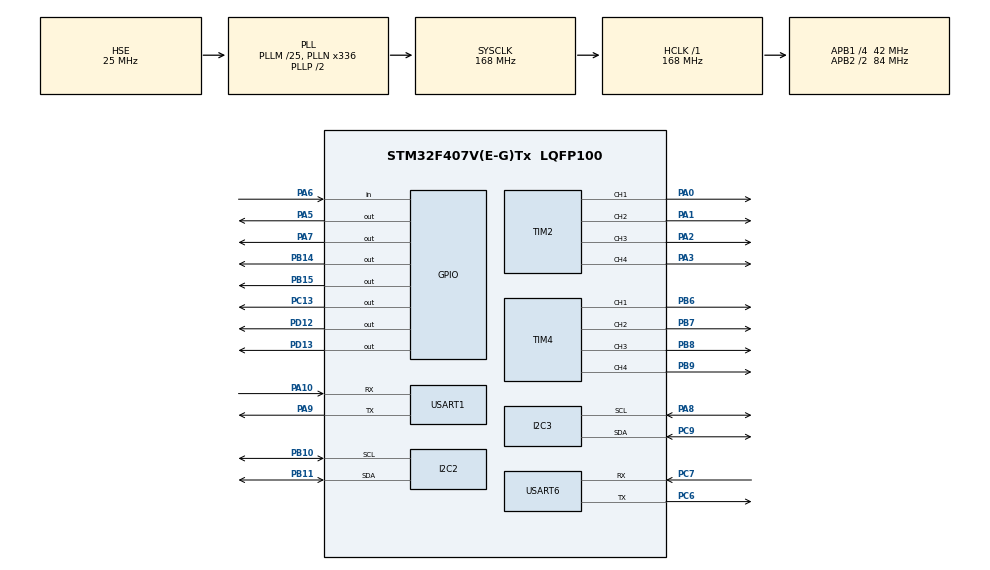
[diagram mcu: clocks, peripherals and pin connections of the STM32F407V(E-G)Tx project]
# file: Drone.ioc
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Mcu.Family=STM32F4
Mcu.Name=STM32F407V(E-G)Tx
Mcu.Package=LQFP100
NVIC.PriorityGroup=NVIC_PRIORITYGROUP_4
NVIC.TIM3_IRQn=true\:0\:0\:false\:false\:true\:true\:true\:true
PA0-WKUP.Signal=S_TIM2_CH1_ETR
PA1.Signal=S_TIM2_CH2
PA10.Mode=Asynchronous
PA10.Signal=USART1_RX
PA13.Mode=Serial_Wire
PA13.Signal=SYS_JTMS-SWDIO
PA14.Mode=Serial_Wire
PA14.Signal=SYS_JTCK-SWCLK
PA2.Signal=S_TIM2_CH3
PA3.Signal=S_TIM2_CH4
PA5.GPIO_Speed=GPIO_SPEED_FREQ_HIGH
PA5.Signal=GPIO_Output
PA6.GPIO_PuPd=GPIO_PULLUP
PA6.Signal=GPIO_Input
PA7.GPIO_Speed=GPIO_SPEED_FREQ_HIGH
PA7.Signal=GPIO_Output
PA8.Mode=I2C
PA8.Signal=I2C3_SCL
PA9.Mode=Asynchronous
PA9.Signal=USART1_TX
PB10.Mode=I2C
PB10.Signal=I2C2_SCL
PB11.Mode=I2C
PB11.Signal=I2C2_SDA
PB14.Signal=GPIO_Output
PB15.Signal=GPIO_Output
PB6.Signal=S_TIM4_CH1
PB7.Signal=S_TIM4_CH2
PB8.Signal=S_TIM4_CH3
PB9.Signal=S_TIM4_CH4
PC10.Signal=UART4_TX
PC11.Signal=UART4_RX
PC13-ANTI_TAMP.GPIO_ModeDefaultOutputPP=GPIO_MODE_OUTPUT_OD
PC13-ANTI_TAMP.GPIO_PuPd=GPIO_NOPULL
PC13-ANTI_TAMP.Signal=GPIO_Output
PC6.Mode=Asynchronous
PC6.Signal=USART6_TX
PC7.Mode=Asynchronous
PC7.Signal=USART6_RX
PC9.Mode=I2C
PC9.Signal=I2C3_SDA
PD12.GPIO_Speed=GPIO_SPEED_FREQ_HIGH
PD12.Signal=GPIO_Output
PD13.GPIO_Speed=GPIO_SPEED_FREQ_HIGH
PD13.Signal=GPIO_Output
PD5.Signal=USART2_TX
PD6.Signal=USART2_RX
PH0-OSC_IN.Mode=HSE-External-Oscillator
PH0-OSC_IN.Signal=RCC_OSC_IN
PH1-OSC_OUT.Mode=HSE-External-Oscillator
PH1-OSC_OUT.Signal=RCC_OSC_OUT
ProjectManager.HeapSize=0x200
ProjectManager.StackSize=0x400
ProjectManager.TargetToolchain=MDK-ARM V5.32
RCC.48MHZClocksFreq_Value=48000000
RCC.AHBFreq_Value=168000000
RCC.APB1CLKDivider=RCC_HCLK_DIV4
RCC.APB1Freq_Value=42000000
RCC.APB1TimFreq_Value=84000000
RCC.APB2CLKDivider=RCC_HCLK_DIV2
RCC.APB2Freq_Value=84000000
RCC.APB2TimFreq_Value=168000000
RCC.CortexFreq_Value=168000000
RCC.HCLKFreq_Value=168000000
RCC.HSE_VALUE=25000000
RCC.HSI_VALUE=16000000
RCC.LSE_VALUE=32768
RCC.PLLM=25
RCC.PLLN=336
RCC.PLLQ=7
RCC.PLLSourceVirtual=RCC_PLLSOURCE_HSE
RCC.SYSCLKFreq_VALUE=168000000
RCC.SYSCLKSource=RCC_SYSCLKSOURCE_PLLCLK
RCC.VCOOutputFreq_Value=336000000
SH.S_TIM2_CH1_ETR.0=TIM2_CH1,PWM Generation1 CH1
SH.S_TIM2_CH2.0=TIM2_CH2,PWM Generation2 CH2
SH.S_TIM2_CH3.0=TIM2_CH3,PWM Generation3 CH3
SH.S_TIM2_CH4.0=TIM2_CH4,PWM Generation4 CH4
SH.S_TIM4_CH1.0=TIM4_CH1,PWM Generation1 CH1
SH.S_TIM4_CH2.0=TIM4_CH2,PWM Generation2 CH2
SH.S_TIM4_CH3.0=TIM4_CH3,PWM Generation3 CH3
SH.S_TIM4_CH4.0=TIM4_CH4,PWM Generation4 CH4
TIM2.Channel-PWM\ Generation1\ CH1=TIM_CHANNEL_1
TIM2.Channel-PWM\ Generation2\ CH2=TIM_CHANNEL_2
TIM2.Channel-PWM\ Generation3\ CH3=TIM_CHANNEL_3
TIM2.Channel-PWM\ Generation4\ CH4=TIM_CHANNEL_4
TIM3.Period=333
TIM3.Prescaler=83
TIM4.Channel-PWM\ Generation1\ CH1=TIM_CHANNEL_1
TIM4.Channel-PWM\ Generation2\ CH2=TIM_CHANNEL_2
TIM4.Channel-PWM\ Generation3\ CH3=TIM_CHANNEL_3
TIM4.Channel-PWM\ Generation4\ CH4=TIM_CHANNEL_4
USART1.VirtualMode=VM_ASYNC
USART6.VirtualMode=VM_ASYNC
VP_TIM3_VS_ClockSourceINT.Mode=Internal
board=custom

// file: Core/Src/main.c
/* USER CODE BEGIN Header */
/**
  ******************************************************************************
  * @file           : main.c
  * @brief          : Main program body
  ******************************************************************************
  * @attention
  *
  * Copyright (c) 2025 STMicroelectronics.
  * All rights reserved.
  *
  * This software is licensed under terms that can be found in the LICENSE file
  * in the root directory of this software component.
  * If no LICENSE file comes with this software, it is provided AS-IS.
  *
  ******************************************************************************
  */
/* USER CODE END Header */
#include "main.h"
#include "i2c.h"
#include "tim.h"
#include "usart.h"
#include "gpio.h"

/* USER CODE BEGIN Includes */
#include "oled.h"
#include "ALL_DEFINE.h"
#include "all_data.h"
#include "NRF24L01.h"
/* USER CODE END Includes */

/* USER CODE BEGIN PV */
extern float LX,LY,Dis,NX,NY;

uint8_t NRF_R_Success;
uint8_t NRF_R_Not;
/* USER CODE END PV */

void SystemClock_Config(void);

int main(void)
{

  /* MCU Configuration--------------------------------------------------------*/

  /* Reset of all peripherals, Initializes the Flash interface and the Systick. */
  HAL_Init();

  /* Configure the system clock */
  SystemClock_Config();

  /* Initialize all configured peripherals */
  MX_GPIO_Init();
  MX_TIM2_Init();
  MX_TIM4_Init();
  MX_USART1_UART_Init();
  MX_USART6_UART_Init();
  MX_I2C2_Init();
  MX_TIM3_Init();
  MX_I2C3_Init();
  /* USER CODE BEGIN 2 */

  cycleCounterInit();  //得到系统每个us的系统CLK个数，为以后延时函数，和得到精准的当前执行时间使用/*应该放在时钟初始化之后*/
	HAL_NVIC_SetPriorityGrouping(NVIC_PRIORITYGROUP_2); //2个bit的抢占优先级，2个bit的子优先级
	SysTick_Config(SystemCoreClock / 1000);	//系统滴答时钟

  NRF24L01_Init();

	ALL_Init();//系统初始化

  OLED_Init();
  OLED_Clear();

//  OLED_ShowNum(1, 1, 123, 4, 16, 0);
//  OLED_ShowNum(1, 3, 123, 4, 12, 1);
  /* USER CODE END 2 */

  /* Infinite loop */
  /* USER CODE BEGIN WHILE */
  while (1)
  {
    uint8_t temp = NRF24L01_Receive();

    if(temp == 1) NRF_R_Success++;
    else NRF_R_Not++;

    OLED_ShowNum(1, 3, temp, 2, 12, 0);
    OLED_ShowNum(5, 3, NRF24L01_ReadReg(NRF24L01_CONFIG), 2, 12, 0);

    OLED_ShowNum(1, 5, NRF24L01_RxPacket[0], 4, 12, 0);
    OLED_ShowNum(6, 5, NRF24L01_RxPacket[1], 4, 12, 0);
    OLED_ShowNum(1, 6, NRF24L01_RxPacket[2], 4, 12, 0);
    OLED_ShowNum(6, 6, NRF24L01_RxPacket[3], 4, 12, 0);
    /* USER CODE END WHILE */

  }
}

void SystemClock_Config(void)
{
  RCC_OscInitTypeDef RCC_OscInitStruct = {0};
  RCC_ClkInitTypeDef RCC_ClkInitStruct = {0};

  /** Configure the main internal regulator output voltage
  */
  __HAL_RCC_PWR_CLK_ENABLE();
  __HAL_PWR_VOLTAGESCALING_CONFIG(PWR_REGULATOR_VOLTAGE_SCALE1);

  /** Initializes the RCC Oscillators according to the specified parameters
  * in the RCC_OscInitTypeDef structure.
  */
  RCC_OscInitStruct.OscillatorType = RCC_OSCILLATORTYPE_HSE;
  RCC_OscInitStruct.HSEState = RCC_HSE_ON;
  RCC_OscInitStruct.PLL.PLLState = RCC_PLL_ON;
  RCC_OscInitStruct.PLL.PLLSource = RCC_PLLSOURCE_HSE;
  RCC_OscInitStruct.PLL.PLLM = 25;
  RCC_OscInitStruct.PLL.PLLN = 336;
  RCC_OscInitStruct.PLL.PLLP = RCC_PLLP_DIV2;
  RCC_OscInitStruct.PLL.PLLQ = 7;
  if (HAL_RCC_OscConfig(&RCC_OscInitStruct) != HAL_OK)
  {
    Error_Handler();
  }

  /** Initializes the CPU, AHB and APB buses clocks
  */
  RCC_ClkInitStruct.ClockType = RCC_CLOCKTYPE_HCLK|RCC_CLOCKTYPE_SYSCLK
                              |RCC_CLOCKTYPE_PCLK1|RCC_CLOCKTYPE_PCLK2;
  RCC_ClkInitStruct.SYSCLKSource = RCC_SYSCLKSOURCE_PLLCLK;
  RCC_ClkInitStruct.AHBCLKDivider = RCC_SYSCLK_DIV1;
  RCC_ClkInitStruct.APB1CLKDivider = RCC_HCLK_DIV4;
  RCC_ClkInitStruct.APB2CLKDivider = RCC_HCLK_DIV2;

  if (HAL_RCC_ClockConfig(&RCC_ClkInitStruct, FLASH_LATENCY_5) != HAL_OK)
  {
    Error_Handler();
  }
}

void Error_Handler(void)
{
  __disable_irq();
  while (1)
  {
  }
}
